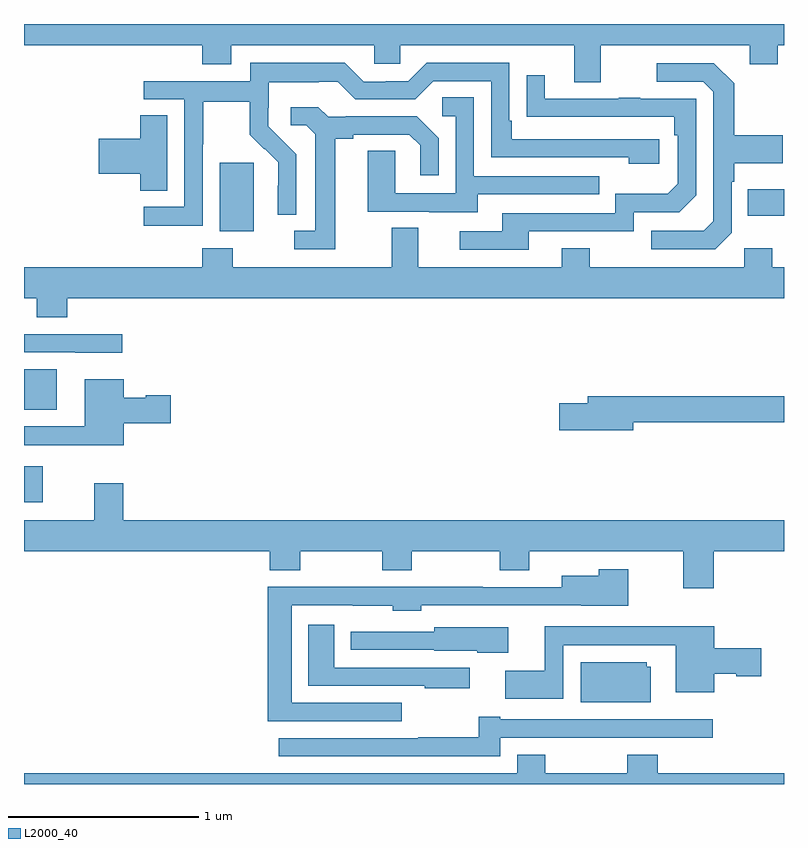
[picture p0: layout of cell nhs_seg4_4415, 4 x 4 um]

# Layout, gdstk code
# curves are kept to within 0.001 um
import gdstk
lib = gdstk.Library(unit=1e-6, precision=1e-09)
def R(c, l, rs):  # rectangles x0, y0, x1, y1
    for r in rs: c.add(gdstk.rectangle(r[:2], r[2:], *l))
def P(c, l, *ps):  # polygons
    for p in ps: c.add(gdstk.Polygon(p, *l))
L2000_40 = (2000, 40)

nhs_seg4_4415 = lib.new_cell('nhs_seg4_4415')
R(nhs_seg4_4415, L2000_40, [(347,826.382,347.098,826.573), (347,826.871,347.173,827.083), (348.029,827.81,348.208,828.171), (350.809,827.891,351,828.031)])
P(nhs_seg4_4415, L2000_40, [(350.035,828.788),(350.819,828.788),(350.819,828.689),(350.967,828.689),(350.967,828.788),(351,828.788),(351,828.9),(347,828.9),(347,828.788),(347.939,828.788),(347.939,828.689),(348.091,828.689),(348.091,828.788),(348.843,828.788),(348.843,828.69),(348.981,828.69),(348.981,828.788),(349.895,828.788),(349.895,828.594),(350.035,828.594)],
  [(347.94,828.268),(347.943,828.268),(347.943,828.492),(348.187,828.492),(348.187,828.317),(348.264,828.24),(348.267,828.243),(348.338,828.173),(348.338,828.05),(348.336,828.05),(348.336,827.896),(348.432,827.896),(348.432,828.214),(348.286,828.362),(348.286,828.459),(348.288,828.459),(348.288,828.593),(348.551,828.593),(348.551,828.597),(348.651,828.597),(348.744,828.504),(349.059,828.504),(349.155,828.6),(349.458,828.6),(349.458,828.198),(350.183,828.198),(350.183,828.164),(350.344,828.164),(350.344,828.294),(349.567,828.294),(349.567,828.391),(349.554,828.391),(349.554,828.696),(349.119,828.696),(349.023,828.6),(348.905,828.6),(348.905,828.597),(348.789,828.597),(348.689,828.697),(348.192,828.697),(348.192,828.6),(347.631,828.6),(347.631,828.504),(347.844,828.504),(347.844,827.937),(347.631,827.937),(347.631,827.839),(347.94,827.839)],
  [(350.724,827.802),(350.724,828.071),(350.737,828.071),(350.737,828.167),(350.993,828.167),(350.993,828.315),(350.737,828.315),(350.737,828.587),(350.631,828.693),(350.331,828.693),(350.331,828.597),(350.574,828.597),(350.628,828.543),(350.628,827.862),(350.577,827.811),(350.301,827.811),(350.301,827.715),(350.637,827.715)],
  [(349.657,827.808),(350.208,827.808),(350.208,827.91),(350.448,827.91),(350.538,828),(350.538,828.507),(350.243,828.507),(350.243,828.512),(350.131,828.512),(350.131,828.507),(349.741,828.507),(349.741,828.631),(349.645,828.631),(349.645,828.412),(350.422,828.411),(350.422,828.314),(350.442,828.314),(350.442,828.06),(350.389,828.007),(350.112,828.007),(350.112,827.904),(349.517,827.904),(349.517,827.808),(349.293,827.808),(349.293,827.712),(349.657,827.712)],
  [(349.387,828.003),(350.027,828.003),(350.027,828.099),(349.368,828.099),(349.368,828.515),(349.2,828.515),(349.2,828.414),(349.272,828.414),(349.272,828.009),(348.954,828.009),(348.954,828.233),(348.809,828.233),(348.809,827.913),(349.133,827.913),(349.133,827.909),(349.387,827.909)],
  [(348.637,828.296),(348.733,828.296),(348.733,828.318),(349.028,828.318),(349.085,828.261),(349.085,828.105),(349.182,828.105),(349.182,828.298),(349.066,828.414),(348.694,828.414),(348.694,828.411),(348.6,828.411),(348.548,828.463),(348.405,828.463),(348.405,828.366),(348.486,828.366),(348.533,828.319),(348.533,827.811),(348.423,827.811),(348.423,827.715),(348.637,827.715)],
  [(347.755,828.419),(347.612,828.419),(347.612,828.296),(347.394,828.296),(347.394,828.113),(347.612,828.113),(347.612,828.022),(347.755,828.022)],
  [(351,827.62),(350.937,827.62),(350.937,827.719),(350.79,827.719),(350.79,827.62),(349.977,827.62),(349.977,827.719),(349.829,827.719),(349.829,827.62),(349.075,827.62),(349.075,827.828),(348.935,827.828),(348.935,827.62),(348.099,827.62),(348.099,827.719),(347.939,827.719),(347.939,827.62),(347,827.62),(347,827.456),(347.068,827.456),(347.068,827.357),(347.228,827.357),(347.228,827.456),(351,827.456)],
  [(347.518,827.268),(347,827.268),(347,827.172),(347.269,827.172),(347.269,827.171),(347.518,827.171)],
  [(347.524,826.799),(347.773,826.799),(347.773,826.946),(347.64,826.946),(347.64,826.933),(347.524,826.933),(347.524,827.029),(347.321,827.029),(347.321,826.783),(347,826.783),(347,826.682),(347.524,826.682)],
  [(350.206,826.804),(351,826.804),(351,826.94),(349.967,826.94),(349.967,826.904),(349.818,826.904),(349.818,826.762),(350.206,826.762)],
  [(350.63,826.124),(351,826.124),(351,826.288),(347.522,826.288),(347.522,826.483),(347.369,826.483),(347.369,826.288),(347,826.288),(347,826.124),(348.293,826.124),(348.293,826.025),(348.453,826.025),(348.453,826.124),(348.886,826.124),(348.886,826.025),(349.041,826.025),(349.041,826.124),(349.504,826.124),(349.504,826.025),(349.659,826.025),(349.659,826.124),(350.47,826.124),(350.47,825.93),(350.63,825.93)],
  [(348.988,825.327),(348.409,825.327),(348.409,825.84),(348.73,825.84),(348.73,825.839),(348.942,825.839),(348.942,825.812),(349.092,825.812),(349.092,825.84),(349.933,825.84),(349.933,825.839),(350.181,825.839),(350.181,826.03),(350.026,826.03),(350.026,825.997),(349.829,825.997),(349.829,825.936),(349.415,825.936),(349.415,825.938),(348.284,825.938),(348.284,825.231),(348.988,825.231)],
  [(349.345,825.513),(348.634,825.513),(348.634,825.739),(348.497,825.739),(348.497,825.417),(349.109,825.417),(349.109,825.404),(349.345,825.404)],
  [(349.839,825.629),(350.429,825.629),(350.429,825.383),(350.632,825.383),(350.632,825.479),(350.748,825.479),(350.748,825.467),(350.881,825.467),(350.881,825.614),(350.632,825.614),(350.632,825.73),(349.742,825.73),(349.742,825.496),(349.533,825.496),(349.533,825.35),(349.839,825.35)],
  [(349.549,825.724),(349.158,825.724),(349.158,825.702),(348.719,825.702),(348.719,825.606),(349.158,825.606),(349.158,825.602),(349.386,825.602),(349.386,825.591),(349.549,825.591)],
  [(350.299,825.516),(350.277,825.516),(350.277,825.541),(349.931,825.541),(349.931,825.329),(350.299,825.329)],
  [(349.507,825.144),(349.831,825.144),(349.831,825.143),(350.087,825.143),(350.087,825.144),(350.626,825.144),(350.626,825.241),(350.377,825.241),(350.377,825.24),(349.507,825.24),(349.507,825.253),(349.393,825.253),(349.393,825.146),(349.075,825.146),(349.075,825.141),(348.342,825.141),(348.342,825.045),(349.507,825.045)],
  [(351,824.956),(350.336,824.956),(350.336,825.055),(350.176,825.055),(350.176,824.956),(349.743,824.956),(349.743,825.055),(349.595,825.055),(349.595,824.956),(347,824.956),(347,824.9),(351,824.9)])

lib.write_gds('nhs_seg4_4415.gds')
